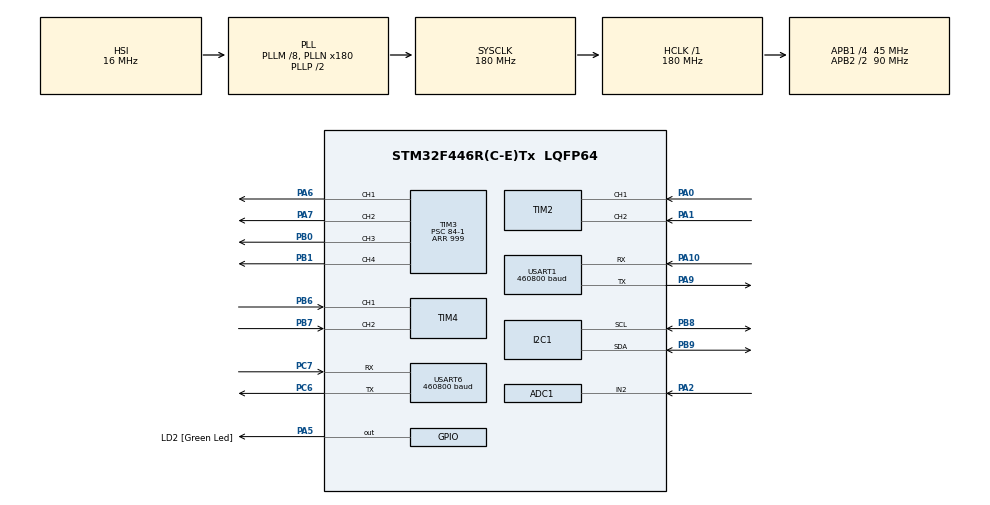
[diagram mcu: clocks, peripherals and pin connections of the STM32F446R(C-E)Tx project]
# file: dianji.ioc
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ADC1.Channel-2\#ChannelRegularConversion=ADC_CHANNEL_2
ADC1.NbrOfConversionFlag=1
ADC1.Rank-2\#ChannelRegularConversion=1
ADC1.SamplingTime-2\#ChannelRegularConversion=ADC_SAMPLETIME_3CYCLES
ADC1.master=1
Dma.Request0=USART6_RX
Dma.Request1=USART6_TX
Dma.Request2=USART1_RX
Dma.Request3=USART1_TX
Dma.USART1_RX.2.Direction=DMA_PERIPH_TO_MEMORY
Dma.USART1_RX.2.FIFOMode=DMA_FIFOMODE_DISABLE
Dma.USART1_RX.2.Instance=DMA2_Stream2
Dma.USART1_RX.2.MemDataAlignment=DMA_MDATAALIGN_BYTE
Dma.USART1_RX.2.MemInc=DMA_MINC_ENABLE
Dma.USART1_RX.2.Mode=DMA_NORMAL
Dma.USART1_RX.2.PeriphDataAlignment=DMA_PDATAALIGN_BYTE
Dma.USART1_RX.2.PeriphInc=DMA_PINC_DISABLE
Dma.USART1_RX.2.Priority=DMA_PRIORITY_LOW
Dma.USART1_TX.3.Direction=DMA_MEMORY_TO_PERIPH
Dma.USART1_TX.3.FIFOMode=DMA_FIFOMODE_DISABLE
Dma.USART1_TX.3.Instance=DMA2_Stream7
Dma.USART1_TX.3.MemDataAlignment=DMA_MDATAALIGN_BYTE
Dma.USART1_TX.3.MemInc=DMA_MINC_ENABLE
Dma.USART1_TX.3.Mode=DMA_NORMAL
Dma.USART1_TX.3.PeriphDataAlignment=DMA_PDATAALIGN_BYTE
Dma.USART1_TX.3.PeriphInc=DMA_PINC_DISABLE
Dma.USART1_TX.3.Priority=DMA_PRIORITY_LOW
Dma.USART6_RX.0.Direction=DMA_PERIPH_TO_MEMORY
Dma.USART6_RX.0.FIFOMode=DMA_FIFOMODE_DISABLE
Dma.USART6_RX.0.Instance=DMA2_Stream1
Dma.USART6_RX.0.MemDataAlignment=DMA_MDATAALIGN_BYTE
Dma.USART6_RX.0.MemInc=DMA_MINC_ENABLE
Dma.USART6_RX.0.Mode=DMA_NORMAL
Dma.USART6_RX.0.PeriphDataAlignment=DMA_PDATAALIGN_BYTE
Dma.USART6_RX.0.PeriphInc=DMA_PINC_DISABLE
Dma.USART6_RX.0.Priority=DMA_PRIORITY_LOW
Dma.USART6_TX.1.Direction=DMA_MEMORY_TO_PERIPH
Dma.USART6_TX.1.FIFOMode=DMA_FIFOMODE_DISABLE
Dma.USART6_TX.1.Instance=DMA2_Stream6
Dma.USART6_TX.1.MemDataAlignment=DMA_MDATAALIGN_BYTE
Dma.USART6_TX.1.MemInc=DMA_MINC_ENABLE
Dma.USART6_TX.1.Mode=DMA_NORMAL
Dma.USART6_TX.1.PeriphDataAlignment=DMA_PDATAALIGN_BYTE
Dma.USART6_TX.1.PeriphInc=DMA_PINC_DISABLE
Dma.USART6_TX.1.Priority=DMA_PRIORITY_LOW
I2C1.I2C_Mode=I2C_Fast
Mcu.Family=STM32F4
Mcu.Name=STM32F446R(C-E)Tx
Mcu.Package=LQFP64
NVIC.DMA2_Stream1_IRQn=true\:0\:0\:false\:false\:true\:false\:true\:true
NVIC.DMA2_Stream2_IRQn=true\:0\:0\:false\:false\:true\:false\:true\:true
NVIC.DMA2_Stream6_IRQn=true\:0\:0\:false\:false\:true\:false\:true\:true
NVIC.DMA2_Stream7_IRQn=true\:0\:0\:false\:false\:true\:false\:true\:true
NVIC.PriorityGroup=NVIC_PRIORITYGROUP_0
NVIC.USART1_IRQn=true\:0\:0\:false\:false\:true\:true\:true\:true
PA0-WKUP.Signal=S_TIM2_CH1_ETR
PA1.Signal=S_TIM2_CH2
PA10.Mode=Asynchronous
PA10.Signal=USART1_RX
PA13.GPIO_Label=TMS
PA13.Mode=Serial_Wire
PA13.Signal=SYS_JTMS-SWDIO
PA14.GPIO_Label=TCK
PA14.Mode=Serial_Wire
PA14.Signal=SYS_JTCK-SWCLK
PA2.Signal=ADCx_IN2
PA3.GPIO_Label=USART_RX
PA3.Signal=USART2_RX
PA5.GPIO_Label=LD2 [Green Led]
PA5.Signal=GPIO_Output
PA6.Signal=S_TIM3_CH1
PA7.Signal=S_TIM3_CH2
PA9.Mode=Asynchronous
PA9.Signal=USART1_TX
PB0.Signal=S_TIM3_CH3
PB1.Signal=S_TIM3_CH4
PB3.GPIO_Label=SWO
PB3.Signal=SYS_JTDO-SWO
PB6.Signal=S_TIM4_CH1
PB7.Signal=S_TIM4_CH2
PB8.Mode=I2C
PB8.Signal=I2C1_SCL
PB9.Mode=I2C
PB9.Signal=I2C1_SDA
PC14-OSC32_IN.Mode=LSE-External-Oscillator
PC14-OSC32_IN.Signal=RCC_OSC32_IN
PC15-OSC32_OUT.Mode=LSE-External-Oscillator
PC15-OSC32_OUT.Signal=RCC_OSC32_OUT
PC6.Mode=Asynchronous
PC6.Signal=USART6_TX
PC7.Mode=Asynchronous
PC7.Signal=USART6_RX
PH0-OSC_IN.Mode=HSE-External-Oscillator
PH0-OSC_IN.Signal=RCC_OSC_IN
PH1-OSC_OUT.Mode=HSE-External-Oscillator
PH1-OSC_OUT.Signal=RCC_OSC_OUT
ProjectManager.HeapSize=0x200
ProjectManager.StackSize=0x400
ProjectManager.TargetToolchain=MDK-ARM V5.32
RCC.48MHZClocksFreq_Value=84000000
RCC.AHBFreq_Value=180000000
RCC.APB1CLKDivider=RCC_HCLK_DIV4
RCC.APB1Freq_Value=45000000
RCC.APB1TimFreq_Value=90000000
RCC.APB2CLKDivider=RCC_HCLK_DIV2
RCC.APB2Freq_Value=90000000
RCC.APB2TimFreq_Value=180000000
RCC.CortexFreq_Value=180000000
RCC.FLatency-AdvancedSettings=FLASH_LATENCY_5
RCC.HCLKFreq_Value=180000000
RCC.HSE_VALUE=8000000
RCC.HSI_VALUE=16000000
RCC.PLLM=8
RCC.PLLN=180
RCC.SYSCLKFreq_VALUE=180000000
RCC.SYSCLKSource=RCC_SYSCLKSOURCE_PLLCLK
RCC.USBFreq_Value=180000000
RCC.VCOOutputFreq_Value=360000000
SH.ADCx_IN2.0=ADC1_IN2,IN2
SH.S_TIM2_CH1_ETR.0=TIM2_CH1,Encoder_Interface
SH.S_TIM2_CH2.0=TIM2_CH2,Encoder_Interface
SH.S_TIM3_CH1.0=TIM3_CH1,PWM Generation1 CH1
SH.S_TIM3_CH2.0=TIM3_CH2,PWM Generation2 CH2
SH.S_TIM3_CH3.0=TIM3_CH3,PWM Generation3 CH3
SH.S_TIM3_CH4.0=TIM3_CH4,PWM Generation4 CH4
SH.S_TIM4_CH1.0=TIM4_CH1,Encoder_Interface
SH.S_TIM4_CH2.0=TIM4_CH2,Encoder_Interface
TIM3.Channel-PWM\ Generation1\ CH1=TIM_CHANNEL_1
TIM3.Channel-PWM\ Generation2\ CH2=TIM_CHANNEL_2
TIM3.Channel-PWM\ Generation3\ CH3=TIM_CHANNEL_3
TIM3.Channel-PWM\ Generation4\ CH4=TIM_CHANNEL_4
TIM3.Period=999
TIM3.Prescaler=84-1
USART1.BaudRate=460800
USART1.VirtualMode=VM_ASYNC
USART6.BaudRate=460800
USART6.VirtualMode=VM_ASYNC
board=NUCLEO-F446RE

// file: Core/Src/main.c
/* USER CODE BEGIN Header */
/**
  ******************************************************************************
  * @file           : main.c
  * @brief          : 主程序 + ADC + 编码器 + RPLIDAR C1 + MPU6500 传感器
  ******************************************************************************
  * @attention
  * Copyright (c) 2025 STMicroelectronics.
  * All rights reserved.
  *
  * This software is licensed under terms in LICENSE file or provided AS-IS.
  ******************************************************************************
  */
/* USER CODE END Header */
#include "main.h"
#include "adc.h"
#include "dma.h"
#include "i2c.h"
#include "tim.h"
#include "usart.h"
#include "gpio.h"
#include "motor_control.h"
#include "rplidar.h"
#include "mpu6500.h"
#include "bluetooth.h"

#include <string.h>
#include <stdio.h>
#include <math.h>
#include <stdbool.h>

/* ------------------ 运动控制 ------------------ */
uint8_t target_direction = DIR_STOP;
uint8_t current_direction = DIR_STOP;
uint32_t current_speed = 0;
uint32_t target_speed = 0;
uint32_t last_speed_update_time = 0;
uint32_t turn_start_time = 0;
uint8_t turn_direction = DIR_LEFT;
uint8_t is_turning = 0;
uint8_t turn_state = 0;

/* ------------------ 蓝牙 ------------------ */
uint8_t bluetooth_rx_data = 0;
uint8_t bluetooth_connected = 0;
uint8_t connection_announced = 0;
uint8_t connection_msg[] = "Connected\r\n";

/* ------------------ RPLIDAR C1 ------------------ */
uint8_t lidar_dma_buffer[DMA_BUFFER_SIZE];
uint32_t lidar_rxIndex = 0;
float lastLidarAngle = 0.0f;
uint32_t lastLidarRxTime = 0;
LidarState lidar_state = LIDAR_STATE_WAIT_START_RESP;
uint8_t lidar_start_resp_buf[LIDAR_START_RESP_SIZE];
uint8_t lidar_start_resp_idx = 0;

/* ------------------ MPU6500 ------------------ */
MPU6500_Data mpu_data;
MPU6500_Calib mpu_calib = {0};
uint8_t mpu_init_ok = 0;

/* ------------------ 其他 ------------------ */
int32_t lastEncoderA = 0;
int32_t lastEncoderB = 0;
char uart_buf[100];
uint32_t lastLidarProcessTime = 0;
uint32_t lastSensorSendTime = 0;
uint32_t lastEncoderReadTime = 0;
uint32_t lastMPUReadTime = 0;
/* USER CODE END PV */

void SystemClock_Config(void);
/* USER CODE BEGIN PFP */
void HAL_UART_RxCpltCallback(UART_HandleTypeDef *huart)
{
    if (huart == &huart1)
    {
        HandleBluetoothRx();
    }
}
/* USER CODE END PFP */

int main(void)
{

  /* MCU Configuration--------------------------------------------------------*/

  /* Reset of all peripherals, Initializes the Flash interface and the Systick. */
  HAL_Init();

  /* Configure the system clock */
  SystemClock_Config();

  /* Initialize all configured peripherals */
  MX_GPIO_Init();
  MX_DMA_Init();
  MX_ADC1_Init();
  MX_TIM2_Init();
  MX_TIM3_Init();
  MX_TIM4_Init();
  MX_USART1_UART_Init();
  MX_USART6_UART_Init();
  MX_I2C1_Init();
  /* USER CODE BEGIN 2 */
  // 启动PWM和编码器
  HAL_TIM_Encoder_Start(&htim2, TIM_CHANNEL_ALL);
  HAL_TIM_Encoder_Start(&htim4, TIM_CHANNEL_ALL);
  HAL_TIM_PWM_Start(&htim3, TIM_CHANNEL_1);
  HAL_TIM_PWM_Start(&htim3, TIM_CHANNEL_2);
  HAL_TIM_PWM_Start(&htim3, TIM_CHANNEL_3);
  HAL_TIM_PWM_Start(&htim3, TIM_CHANNEL_4);

  // 启动蓝牙接收
  HAL_UART_Receive_IT(&huart1, &bluetooth_rx_data, 1);

  // 初始化RPLIDAR C1
  HAL_Delay(100);
  uint8_t lidar_stop_cmd[] = {0xA5, 0x25};
  HAL_UART_Transmit(&huart6, lidar_stop_cmd, sizeof(lidar_stop_cmd), 100);
  HAL_Delay(LIDAR_STOP_DELAY);

  uint8_t lidar_scan_cmd[] = {0xA5, 0x20};
  HAL_UART_Transmit(&huart6, lidar_scan_cmd, sizeof(lidar_scan_cmd), 100);
  HAL_Delay(50);

  // 启动C1 DMA接收
  HAL_UART_Receive_DMA(&huart6, lidar_dma_buffer, DMA_BUFFER_SIZE);
  lidar_state = LIDAR_STATE_WAIT_START_RESP;
  lidar_start_resp_idx = 0;
  lastLidarRxTime = HAL_GetTick();

  // 检查LIDAR通信
  HAL_UART_Transmit(&huart1, (uint8_t*)"[INIT] Checking LIDAR communication...\r\n", 38, 100);
  uint8_t get_info_cmd[] = {0xA5, 0x90};
  HAL_UART_Transmit(&huart6, get_info_cmd, sizeof(get_info_cmd), 100);
  HAL_Delay(100);
  uint32_t initial_data = DMA_BUFFER_SIZE - __HAL_DMA_GET_COUNTER(huart6.hdmarx);
  if (initial_data > 0) {
      char msg[60];
      snprintf(msg, sizeof(msg), "[INIT] LIDAR responded with %u bytes\r\n", initial_data);
      HAL_UART_Transmit(&huart1, (uint8_t*)msg, strlen(msg), 100);
  } else {
      HAL_UART_Transmit(&huart1, (uint8_t*)"[INIT] LIDAR no response\r\n", 25, 100);
  }

  // 系统启动消息
  HAL_UART_Transmit(&huart1, (uint8_t*)"System Started\r\n", 16, 100);

  // 初始化MPU6500
  mpu_init_ok = MPU6500_Init(&hi2c1);
  if(mpu_init_ok == 0) {
      MPU6500_Calibrate(&hi2c1, &mpu_calib);
  }

  // 初始化编码器读数
  lastEncoderA = __HAL_TIM_GET_COUNTER(&htim2);
  lastEncoderB = __HAL_TIM_GET_COUNTER(&htim4);

  // 初始化时间戳
  uint32_t currentTime = HAL_GetTick();
  lastLidarProcessTime = currentTime;
  lastSensorSendTime = currentTime;
  lastEncoderReadTime = currentTime;
  lastMPUReadTime = currentTime;
  last_speed_update_time = currentTime;
  /* USER CODE END 2 */

  /* Infinite loop */
  while (1)
  {

    /* USER CODE BEGIN 3 */
    uint32_t currentTime = HAL_GetTick();

    SendConnectionNotification();
    UpdateSpeedRamp();
    LidarTimeoutRecovery();

    // 处理LIDAR数据
    if(currentTime - lastLidarProcessTime >= 5) {
        lastLidarProcessTime = currentTime;
        ProcessLidarDataFromDMA();
    }

    // 读取编码器和ADC
    if(currentTime - lastEncoderReadTime >= 20) {
        lastEncoderReadTime = currentTime;

        int32_t encoderA = __HAL_TIM_GET_COUNTER(&htim2);
        int32_t encoderB = __HAL_TIM_GET_COUNTER(&htim4);
        int32_t deltaA = encoderA - lastEncoderA;
        int32_t deltaB = encoderB - lastEncoderB;
        lastEncoderA = encoderA;
        lastEncoderB = encoderB;

        float rpmA = (float)deltaA / 360 * (60.0f / 0.02f);
        float rpmB = (float)deltaB / 360 * (60.0f / 0.02f);
        snprintf(uart_buf, sizeof(uart_buf), "E:%.1f,%.1f\r\n", rpmA, rpmB);
        HAL_UART_Transmit(&huart1, (uint8_t *)uart_buf, strlen(uart_buf), 10);

        HAL_ADC_Start(&hadc1);
        HAL_ADC_PollForConversion(&hadc1, HAL_MAX_DELAY);
        uint32_t adc_val = HAL_ADC_GetValue(&hadc1);
        snprintf(uart_buf, sizeof(uart_buf), "A:%d\r\n", adc_val);
        HAL_UART_Transmit(&huart1, (uint8_t *)uart_buf, strlen(uart_buf), 10);
    }

    // 读取MPU6500数据
    if(currentTime - lastMPUReadTime >= 50) {
        lastMPUReadTime = currentTime;

        if(mpu_init_ok == 0 && mpu_calib.calibrated) {
            MPU6500_Data raw_data, calib_data;
            if(MPU6500_Read_All(&hi2c1, &raw_data) == 0) {
                MPU6500_GetCalibratedData(&raw_data, &mpu_calib, &calib_data);
                MPU6500_Convert_Unit(&calib_data);
                MPU6500_LowPassFilter(&calib_data, &mpu_calib, 0.3f);
                MPU6500_Update_XMotion(&calib_data, &mpu_calib);
                SendMPUDataToBluetooth(&calib_data, &mpu_calib);
            }
        }
    }

    HAL_Delay(1);
  }
  /* USER CODE END 3 */
}

void SystemClock_Config(void)
{
  RCC_OscInitTypeDef RCC_OscInitStruct = {0};
  RCC_ClkInitTypeDef RCC_ClkInitStruct = {0};

  /** Configure the main internal regulator output voltage
  */
  __HAL_RCC_PWR_CLK_ENABLE();
  __HAL_PWR_VOLTAGESCALING_CONFIG(PWR_REGULATOR_VOLTAGE_SCALE1);

  /** Initializes the RCC Oscillators according to the specified parameters
  * in the RCC_OscInitTypeDef structure.
  */
  RCC_OscInitStruct.OscillatorType = RCC_OSCILLATORTYPE_HSI;
  RCC_OscInitStruct.HSIState = RCC_HSI_ON;
  RCC_OscInitStruct.HSICalibrationValue = RCC_HSICALIBRATION_DEFAULT;
  RCC_OscInitStruct.PLL.PLLState = RCC_PLL_ON;
  RCC_OscInitStruct.PLL.PLLSource = RCC_PLLSOURCE_HSI;
  RCC_OscInitStruct.PLL.PLLM = 8;
  RCC_OscInitStruct.PLL.PLLN = 180;
  RCC_OscInitStruct.PLL.PLLP = RCC_PLLP_DIV2;
  RCC_OscInitStruct.PLL.PLLQ = 2;
  RCC_OscInitStruct.PLL.PLLR = 2;
  if (HAL_RCC_OscConfig(&RCC_OscInitStruct) != HAL_OK)
  {
    Error_Handler();
  }

  /** Activate the Over-Drive mode
  */
  if (HAL_PWREx_EnableOverDrive() != HAL_OK)
  {
    Error_Handler();
  }

  /** Initializes the CPU, AHB and APB buses clocks
  */
  RCC_ClkInitStruct.ClockType = RCC_CLOCKTYPE_HCLK|RCC_CLOCKTYPE_SYSCLK
                              |RCC_CLOCKTYPE_PCLK1|RCC_CLOCKTYPE_PCLK2;
  RCC_ClkInitStruct.SYSCLKSource = RCC_SYSCLKSOURCE_PLLCLK;
  RCC_ClkInitStruct.AHBCLKDivider = RCC_SYSCLK_DIV1;
  RCC_ClkInitStruct.APB1CLKDivider = RCC_HCLK_DIV4;
  RCC_ClkInitStruct.APB2CLKDivider = RCC_HCLK_DIV2;

  if (HAL_RCC_ClockConfig(&RCC_ClkInitStruct, FLASH_LATENCY_5) != HAL_OK)
  {
    Error_Handler();
  }
}

void Error_Handler(void)
{
  __disable_irq();
  while (1)
  {
  }
}
